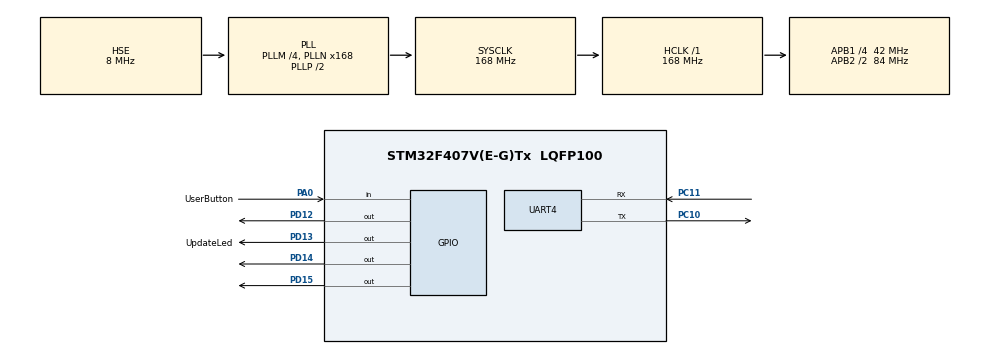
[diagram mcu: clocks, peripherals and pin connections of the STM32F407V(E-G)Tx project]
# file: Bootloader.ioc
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Mcu.Family=STM32F4
Mcu.Name=STM32F407V(E-G)Tx
Mcu.Package=LQFP100
NVIC.PriorityGroup=NVIC_PRIORITYGROUP_0
NVIC.UART4_IRQn=true\:0\:0\:false\:false\:true\:true\:true\:true
PA0-WKUP.GPIO_Label=UserButton
PA0-WKUP.Signal=GPIO_Input
PA13.Mode=Serial_Wire
PA13.Signal=SYS_JTMS-SWDIO
PA14.Mode=Serial_Wire
PA14.Signal=SYS_JTCK-SWCLK
PC10.Mode=Asynchronous
PC10.Signal=UART4_TX
PC11.Mode=Asynchronous
PC11.Signal=UART4_RX
PD12.Signal=GPIO_Output
PD13.GPIO_Label=UpdateLed
PD13.GPIO_PuPd=GPIO_NOPULL
PD13.Signal=GPIO_Output
PD14.Signal=GPIO_Output
PD15.Signal=GPIO_Output
PH0-OSC_IN.Mode=HSE-External-Oscillator
PH0-OSC_IN.Signal=RCC_OSC_IN
PH1-OSC_OUT.Mode=HSE-External-Oscillator
PH1-OSC_OUT.Signal=RCC_OSC_OUT
ProjectManager.HeapSize=0x200
ProjectManager.StackSize=0x400
ProjectManager.TargetToolchain=STM32CubeIDE
RCC.48MHZClocksFreq_Value=48000000
RCC.AHBFreq_Value=168000000
RCC.APB1CLKDivider=RCC_HCLK_DIV4
RCC.APB1Freq_Value=42000000
RCC.APB1TimFreq_Value=84000000
RCC.APB2CLKDivider=RCC_HCLK_DIV2
RCC.APB2Freq_Value=84000000
RCC.APB2TimFreq_Value=168000000
RCC.CortexFreq_Value=168000000
RCC.HCLKFreq_Value=168000000
RCC.HSE_VALUE=8000000
RCC.HSI_VALUE=16000000
RCC.LSE_VALUE=32768
RCC.PLLM=4
RCC.PLLN=168
RCC.PLLQ=7
RCC.PLLSourceVirtual=RCC_PLLSOURCE_HSE
RCC.SYSCLKFreq_VALUE=168000000
RCC.SYSCLKSource=RCC_SYSCLKSOURCE_PLLCLK
RCC.VCOOutputFreq_Value=336000000
UART4.VirtualMode=Asynchronous
board=STM32F407G-DISC1

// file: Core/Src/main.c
/* USER CODE BEGIN Header */
/**
  ******************************************************************************
  * @file           : main.c
  * @brief          : Main program body
  ******************************************************************************
  * @attention
  *
  * Copyright (c) 2025 STMicroelectronics.
  * All rights reserved.
  *
  * This software is licensed under terms that can be found in the LICENSE file
  * in the root directory of this software component.
  * If no LICENSE file comes with this software, it is provided AS-IS.
  *
  ******************************************************************************
  */
/* USER CODE END Header */
#include "main.h"

/* USER CODE BEGIN Includes */
#include "message_processor.h"
#include "receive_message.h"
#include "message_queue.h"
#include "boot_state.h"
/* USER CODE END Includes */

UART_HandleTypeDef huart4;

void SystemClock_Config(void);
static void MX_GPIO_Init(void);
static void MX_UART4_Init(void);

/* USER CODE BEGIN 0 */

static void RunBootloaderMode(void)
{
    /*Get the software from gui and download to flash*/
    HAL_GPIO_WritePin(GPIOD, UpdateLed_Pin, GPIO_PIN_SET);
    boot_state_init();
    receive_message_init();
    uint32_t ledTick = HAL_GetTick();
    while (true)
    {
        if(is_message_available()){
            process_message_task();
        }
        message_timeout_task();

        if(is_transfer_active()){
            if((HAL_GetTick() - ledTick) > 200){
                HAL_GPIO_TogglePin(GPIOD, UpdateLed_Pin);
                ledTick = HAL_GetTick();
            }
        } else {
            HAL_GPIO_WritePin(GPIOD, UpdateLed_Pin, GPIO_PIN_SET);
        }
    }
}

/* USER CODE END 0 */

int main(void)
{

  /* MCU Configuration--------------------------------------------------------*/

  /* Reset of all peripherals, Initializes the Flash interface and the Systick. */
  HAL_Init();

  /* Configure the system clock */
  SystemClock_Config();

  /* Initialize all configured peripherals */
  MX_GPIO_Init();
  MX_UART4_Init();
  /* USER CODE BEGIN 2 */

  /*User button check for software update*/
  uint8_t buttonTime = 0;
  while(buttonTime < 200){
	  GPIO_PinState buttonState = HAL_GPIO_ReadPin(GPIOA, UserButton_Pin);
	  if(buttonState == GPIO_PIN_SET){
		  RunBootloaderMode();
		  break;
	  }
	  buttonTime++;
	  HAL_Delay(5);
  }

  /* USER CODE END 2 */

  /* Infinite loop */
  while (1)
  {

  }
}

void SystemClock_Config(void)
{
  RCC_OscInitTypeDef RCC_OscInitStruct = {0};
  RCC_ClkInitTypeDef RCC_ClkInitStruct = {0};

  /** Configure the main internal regulator output voltage
  */
  __HAL_RCC_PWR_CLK_ENABLE();
  __HAL_PWR_VOLTAGESCALING_CONFIG(PWR_REGULATOR_VOLTAGE_SCALE1);

  /** Initializes the RCC Oscillators according to the specified parameters
  * in the RCC_OscInitTypeDef structure.
  */
  RCC_OscInitStruct.OscillatorType = RCC_OSCILLATORTYPE_HSE;
  RCC_OscInitStruct.HSEState = RCC_HSE_ON;
  RCC_OscInitStruct.PLL.PLLState = RCC_PLL_ON;
  RCC_OscInitStruct.PLL.PLLSource = RCC_PLLSOURCE_HSE;
  RCC_OscInitStruct.PLL.PLLM = 4;
  RCC_OscInitStruct.PLL.PLLN = 168;
  RCC_OscInitStruct.PLL.PLLP = RCC_PLLP_DIV2;
  RCC_OscInitStruct.PLL.PLLQ = 7;
  if (HAL_RCC_OscConfig(&RCC_OscInitStruct) != HAL_OK)
  {
    Error_Handler();
  }

  /** Initializes the CPU, AHB and APB buses clocks
  */
  RCC_ClkInitStruct.ClockType = RCC_CLOCKTYPE_HCLK|RCC_CLOCKTYPE_SYSCLK
                              |RCC_CLOCKTYPE_PCLK1|RCC_CLOCKTYPE_PCLK2;
  RCC_ClkInitStruct.SYSCLKSource = RCC_SYSCLKSOURCE_PLLCLK;
  RCC_ClkInitStruct.AHBCLKDivider = RCC_SYSCLK_DIV1;
  RCC_ClkInitStruct.APB1CLKDivider = RCC_HCLK_DIV4;
  RCC_ClkInitStruct.APB2CLKDivider = RCC_HCLK_DIV2;

  if (HAL_RCC_ClockConfig(&RCC_ClkInitStruct, FLASH_LATENCY_5) != HAL_OK)
  {
    Error_Handler();
  }
}

static void MX_UART4_Init(void)
{

  huart4.Instance = UART4;
  huart4.Init.BaudRate = 115200;
  huart4.Init.WordLength = UART_WORDLENGTH_8B;
  huart4.Init.StopBits = UART_STOPBITS_1;
  huart4.Init.Parity = UART_PARITY_NONE;
  huart4.Init.Mode = UART_MODE_TX_RX;
  huart4.Init.HwFlowCtl = UART_HWCONTROL_NONE;
  huart4.Init.OverSampling = UART_OVERSAMPLING_16;
  if (HAL_UART_Init(&huart4) != HAL_OK)
  {
    Error_Handler();
  }

}

static void MX_GPIO_Init(void)
{
  GPIO_InitTypeDef GPIO_InitStruct = {0};

  /* GPIO Ports Clock Enable */
  __HAL_RCC_GPIOH_CLK_ENABLE();
  __HAL_RCC_GPIOA_CLK_ENABLE();
  __HAL_RCC_GPIOD_CLK_ENABLE();
  __HAL_RCC_GPIOC_CLK_ENABLE();

  /*Configure GPIO pin Output Level */
  HAL_GPIO_WritePin(GPIOD, GPIO_PIN_12|UpdateLed_Pin|GPIO_PIN_14|GPIO_PIN_15, GPIO_PIN_RESET);

  /*Configure GPIO pin : UserButton_Pin */
  GPIO_InitStruct.Pin = UserButton_Pin;
  GPIO_InitStruct.Mode = GPIO_MODE_INPUT;
  GPIO_InitStruct.Pull = GPIO_NOPULL;
  HAL_GPIO_Init(UserButton_GPIO_Port, &GPIO_InitStruct);

  /*Configure GPIO pins : PD12 UpdateLed_Pin PD14 PD15 */
  GPIO_InitStruct.Pin = GPIO_PIN_12|UpdateLed_Pin|GPIO_PIN_14|GPIO_PIN_15;
  GPIO_InitStruct.Mode = GPIO_MODE_OUTPUT_PP;
  GPIO_InitStruct.Pull = GPIO_NOPULL;
  GPIO_InitStruct.Speed = GPIO_SPEED_FREQ_LOW;
  HAL_GPIO_Init(GPIOD, &GPIO_InitStruct);

}

void Error_Handler(void)
{
  __disable_irq();
  while (1)
  {
  }
}
